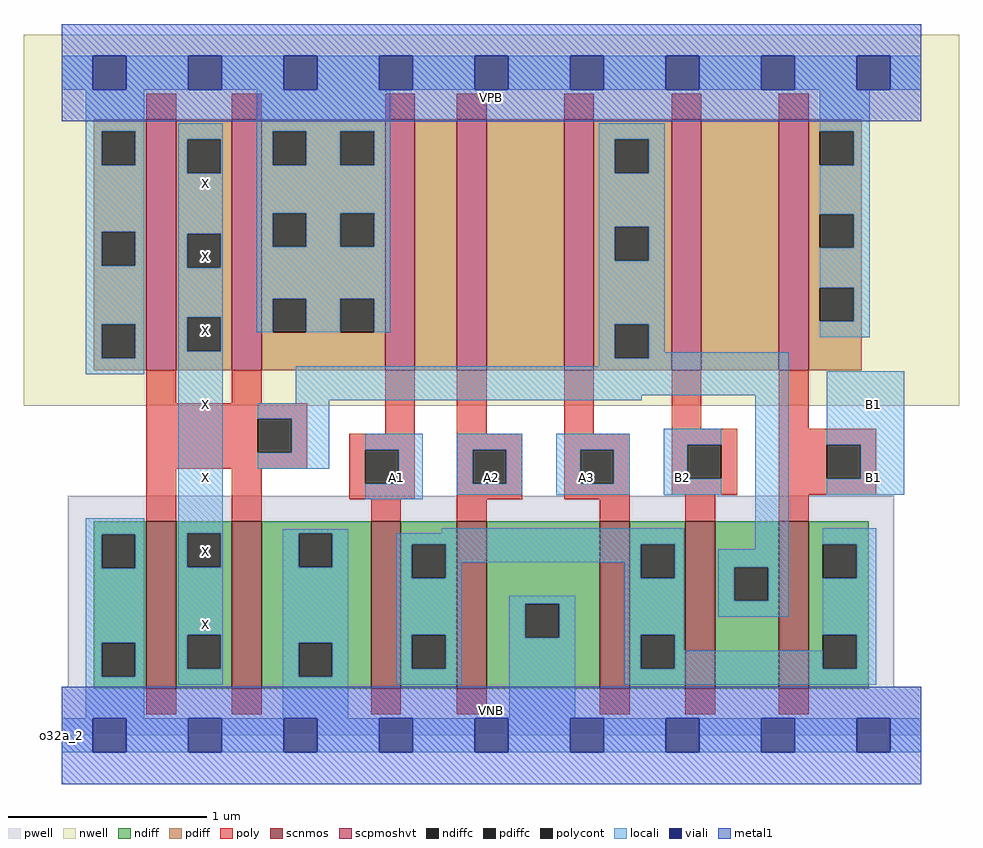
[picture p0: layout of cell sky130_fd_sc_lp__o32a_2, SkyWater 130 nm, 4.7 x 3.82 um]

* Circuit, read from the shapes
.subckt sky130_fd_sc_lp__o32a_2 A1 A2 A3 B1 B2 VGND VNB VPB VPWR X
XM1 X n1 VGND VNB sky130_fd_pr__nfet_01v8 w=0.84 l=0.15 m=2
XM2 n2 A1 VGND VNB sky130_fd_pr__nfet_01v8 w=0.84 l=0.15
XM3 VGND A2 n2 VNB sky130_fd_pr__nfet_01v8 w=0.84 l=0.15
XM4 n2 A3 VGND VNB sky130_fd_pr__nfet_01v8 w=0.84 l=0.15
XM5 n1 B2 n2 VNB sky130_fd_pr__nfet_01v8 w=0.84 l=0.15
XM6 n2 B1 n1 VNB sky130_fd_pr__nfet_01v8 w=0.84 l=0.15
XM7 X n1 VPWR VPB sky130_fd_pr__pfet_01v8_hvt w=1.26 l=0.15 m=2
XM8 n3 A1 VPWR VPB sky130_fd_pr__pfet_01v8_hvt w=1.26 l=0.15
XM9 n4 A2 n3 VPB sky130_fd_pr__pfet_01v8_hvt w=1.26 l=0.15
XM10 n1 A3 n4 VPB sky130_fd_pr__pfet_01v8_hvt w=1.26 l=0.15
XM11 n5 B2 n1 VPB sky130_fd_pr__pfet_01v8_hvt w=1.26 l=0.15
XM12 VPWR B1 n5 VPB sky130_fd_pr__pfet_01v8_hvt w=1.26 l=0.15
.ends

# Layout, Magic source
magic
tech sky130A
magscale 1 2
<< nwell >>
rect -38 331 902 704
<< pwell >>
rect 6 49 837 241
rect 0 0 864 49
<< scnmos >>
rect 85 47 115 215
rect 171 47 201 215
rect 311 47 341 215
rect 397 47 427 215
rect 541 47 571 215
rect 627 47 657 215
rect 721 47 751 215
<< scpmoshvt >>
rect 85 367 115 619
rect 171 367 201 619
rect 325 367 355 619
rect 397 367 427 619
rect 505 367 535 619
rect 613 367 643 619
rect 721 367 751 619
<< ndiff >>
rect 32 202 85 215
rect 32 168 40 202
rect 74 168 85 202
rect 32 93 85 168
rect 32 59 40 93
rect 74 59 85 93
rect 32 47 85 59
rect 115 203 171 215
rect 115 169 126 203
rect 160 169 171 203
rect 115 101 171 169
rect 115 67 126 101
rect 160 67 171 101
rect 115 47 171 67
rect 201 203 311 215
rect 201 169 238 203
rect 272 169 311 203
rect 201 93 311 169
rect 201 59 238 93
rect 272 59 311 93
rect 201 47 311 59
rect 341 192 397 215
rect 341 158 352 192
rect 386 158 397 192
rect 341 101 397 158
rect 341 67 352 101
rect 386 67 397 101
rect 341 47 397 67
rect 427 132 541 215
rect 427 98 466 132
rect 500 98 541 132
rect 427 47 541 98
rect 571 192 627 215
rect 571 158 582 192
rect 616 158 627 192
rect 571 101 627 158
rect 571 67 582 101
rect 616 67 627 101
rect 571 47 627 67
rect 657 169 721 215
rect 657 135 676 169
rect 710 135 721 169
rect 657 47 721 135
rect 751 192 811 215
rect 751 158 765 192
rect 799 158 811 192
rect 751 101 811 158
rect 751 67 765 101
rect 799 67 811 101
rect 751 47 811 67
<< pdiff >>
rect 32 607 85 619
rect 32 573 40 607
rect 74 573 85 607
rect 32 506 85 573
rect 32 472 40 506
rect 74 472 85 506
rect 32 413 85 472
rect 32 379 40 413
rect 74 379 85 413
rect 32 367 85 379
rect 115 599 171 619
rect 115 565 126 599
rect 160 565 171 599
rect 115 504 171 565
rect 115 470 126 504
rect 160 470 171 504
rect 115 420 171 470
rect 115 386 126 420
rect 160 386 171 420
rect 115 367 171 386
rect 201 607 325 619
rect 201 573 212 607
rect 246 573 280 607
rect 314 573 325 607
rect 201 525 325 573
rect 201 491 212 525
rect 246 491 280 525
rect 314 491 325 525
rect 201 439 325 491
rect 201 405 212 439
rect 246 405 280 439
rect 314 405 325 439
rect 201 367 325 405
rect 355 367 397 619
rect 427 367 505 619
rect 535 599 613 619
rect 535 565 556 599
rect 590 565 613 599
rect 535 511 613 565
rect 535 477 556 511
rect 590 477 613 511
rect 535 413 613 477
rect 535 379 556 413
rect 590 379 613 413
rect 535 367 613 379
rect 643 367 721 619
rect 751 607 804 619
rect 751 573 762 607
rect 796 573 804 607
rect 751 524 804 573
rect 751 490 762 524
rect 796 490 804 524
rect 751 450 804 490
rect 751 416 762 450
rect 796 416 804 450
rect 751 367 804 416
<< ndiffc >>
rect 40 168 74 202
rect 40 59 74 93
rect 126 169 160 203
rect 126 67 160 101
rect 238 169 272 203
rect 238 59 272 93
rect 352 158 386 192
rect 352 67 386 101
rect 466 98 500 132
rect 582 158 616 192
rect 582 67 616 101
rect 676 135 710 169
rect 765 158 799 192
rect 765 67 799 101
<< pdiffc >>
rect 40 573 74 607
rect 40 472 74 506
rect 40 379 74 413
rect 126 565 160 599
rect 126 470 160 504
rect 126 386 160 420
rect 212 573 246 607
rect 280 573 314 607
rect 212 491 246 525
rect 280 491 314 525
rect 212 405 246 439
rect 280 405 314 439
rect 556 565 590 599
rect 556 477 590 511
rect 556 379 590 413
rect 762 573 796 607
rect 762 490 796 524
rect 762 416 796 450
<< poly >>
rect 85 619 115 645
rect 171 619 201 645
rect 325 619 355 645
rect 397 619 427 645
rect 505 619 535 645
rect 613 619 643 645
rect 721 619 751 645
rect 85 334 115 367
rect 171 334 201 367
rect 85 318 247 334
rect 85 284 197 318
rect 231 284 247 318
rect 325 303 355 367
rect 85 268 247 284
rect 289 287 355 303
rect 85 215 115 268
rect 171 215 201 268
rect 289 253 305 287
rect 339 253 355 287
rect 289 237 355 253
rect 397 303 427 367
rect 505 303 535 367
rect 613 308 643 367
rect 721 308 751 367
rect 397 287 463 303
rect 397 253 413 287
rect 447 253 463 287
rect 397 237 463 253
rect 505 287 571 303
rect 505 253 521 287
rect 555 253 571 287
rect 505 237 571 253
rect 613 292 679 308
rect 613 258 629 292
rect 663 258 679 292
rect 613 242 679 258
rect 721 292 819 308
rect 721 258 769 292
rect 803 258 819 292
rect 721 242 819 258
rect 311 215 341 237
rect 397 215 427 237
rect 541 215 571 237
rect 627 215 657 242
rect 721 215 751 242
rect 85 21 115 47
rect 171 21 201 47
rect 311 21 341 47
rect 397 21 427 47
rect 541 21 571 47
rect 627 21 657 47
rect 721 21 751 47
<< polycont >>
rect 197 284 231 318
rect 305 253 339 287
rect 413 253 447 287
rect 521 253 555 287
rect 629 258 663 292
rect 769 258 803 292
<< locali >>
rect 0 649 31 683
rect 65 649 127 683
rect 161 649 223 683
rect 257 649 319 683
rect 353 649 415 683
rect 449 649 511 683
rect 545 649 607 683
rect 641 649 703 683
rect 737 649 799 683
rect 833 649 864 683
rect 24 607 83 649
rect 24 573 40 607
rect 74 573 83 607
rect 24 506 83 573
rect 24 472 40 506
rect 74 472 83 506
rect 24 413 83 472
rect 24 379 40 413
rect 74 379 83 413
rect 24 363 83 379
rect 117 599 162 615
rect 117 565 126 599
rect 160 565 162 599
rect 117 504 162 565
rect 117 470 126 504
rect 160 470 162 504
rect 117 420 162 470
rect 117 386 126 420
rect 160 386 162 420
rect 196 607 330 649
rect 196 573 212 607
rect 246 573 280 607
rect 314 573 330 607
rect 196 525 330 573
rect 196 491 212 525
rect 246 491 280 525
rect 314 491 330 525
rect 196 439 330 491
rect 196 405 212 439
rect 246 405 280 439
rect 314 405 330 439
rect 540 599 606 615
rect 540 565 556 599
rect 590 565 606 599
rect 540 511 606 565
rect 540 477 556 511
rect 590 477 606 511
rect 540 413 606 477
rect 24 202 83 218
rect 24 168 40 202
rect 74 168 83 202
rect 24 93 83 168
rect 24 59 40 93
rect 74 59 83 93
rect 24 17 83 59
rect 117 203 162 386
rect 540 379 556 413
rect 590 385 606 413
rect 762 607 812 649
rect 796 573 812 607
rect 762 524 812 573
rect 796 490 812 524
rect 762 450 812 490
rect 796 416 812 450
rect 762 400 812 416
rect 590 379 731 385
rect 540 371 731 379
rect 235 342 731 371
rect 235 337 583 342
rect 235 334 269 337
rect 197 318 269 334
rect 231 284 269 318
rect 197 268 269 284
rect 305 287 363 303
rect 339 253 363 287
rect 305 237 363 253
rect 397 287 463 303
rect 397 253 413 287
rect 447 253 463 287
rect 397 242 463 253
rect 497 287 571 303
rect 497 253 521 287
rect 555 253 571 287
rect 497 242 571 253
rect 605 292 663 308
rect 605 258 629 292
rect 605 242 663 258
rect 117 169 126 203
rect 160 169 162 203
rect 117 101 162 169
rect 117 67 126 101
rect 160 67 162 101
rect 117 51 162 67
rect 222 203 288 207
rect 382 203 626 208
rect 222 169 238 203
rect 272 169 288 203
rect 222 93 288 169
rect 222 59 238 93
rect 272 59 288 93
rect 222 17 288 59
rect 336 192 626 203
rect 336 158 352 192
rect 386 174 582 192
rect 386 158 402 174
rect 336 101 402 158
rect 566 158 582 174
rect 616 158 626 192
rect 697 187 731 342
rect 769 292 847 366
rect 803 258 847 292
rect 769 242 847 258
rect 336 67 352 101
rect 386 67 402 101
rect 336 51 402 67
rect 450 132 516 140
rect 450 98 466 132
rect 500 98 516 132
rect 450 17 516 98
rect 566 101 626 158
rect 660 169 731 187
rect 660 135 676 169
rect 710 135 731 169
rect 660 119 731 135
rect 765 192 819 208
rect 799 158 819 192
rect 566 67 582 101
rect 616 85 626 101
rect 765 101 819 158
rect 616 67 765 85
rect 799 67 819 101
rect 566 51 819 67
rect 0 -17 31 17
rect 65 -17 127 17
rect 161 -17 223 17
rect 257 -17 319 17
rect 353 -17 415 17
rect 449 -17 511 17
rect 545 -17 607 17
rect 641 -17 703 17
rect 737 -17 799 17
rect 833 -17 864 17
<< viali >>
rect 31 649 65 683
rect 127 649 161 683
rect 223 649 257 683
rect 319 649 353 683
rect 415 649 449 683
rect 511 649 545 683
rect 607 649 641 683
rect 703 649 737 683
rect 799 649 833 683
rect 31 -17 65 17
rect 127 -17 161 17
rect 223 -17 257 17
rect 319 -17 353 17
rect 415 -17 449 17
rect 511 -17 545 17
rect 607 -17 641 17
rect 703 -17 737 17
rect 799 -17 833 17
<< metal1 >>
rect 0 683 864 715
rect 0 649 31 683
rect 65 649 127 683
rect 161 649 223 683
rect 257 649 319 683
rect 353 649 415 683
rect 449 649 511 683
rect 545 649 607 683
rect 641 649 703 683
rect 737 649 799 683
rect 833 649 864 683
rect 0 617 864 649
rect 0 17 864 49
rect 0 -17 31 17
rect 65 -17 127 17
rect 161 -17 223 17
rect 257 -17 319 17
rect 353 -17 415 17
rect 449 -17 511 17
rect 545 -17 607 17
rect 641 -17 703 17
rect 737 -17 799 17
rect 833 -17 864 17
rect 0 -49 864 -17
<< labels >>
flabel pwell s 0 0 864 49 0 FreeSans 200 0 0 0 VNB
port 7 nsew ground bidirectional
flabel nwell s 0 617 864 666 0 FreeSans 200 0 0 0 VPB
port 8 nsew power bidirectional
rlabel comment s 0 0 0 0 4 o32a_2
flabel metal1 s 0 617 864 666 0 FreeSans 340 0 0 0 VPWR
port 9 nsew power bidirectional
flabel metal1 s 0 0 864 49 0 FreeSans 340 0 0 0 VGND
port 6 nsew ground bidirectional
flabel locali s 127 94 161 128 0 FreeSans 340 0 0 0 X
port 10 nsew signal output
flabel locali s 127 168 161 202 0 FreeSans 340 0 0 0 X
port 10 nsew signal output
flabel locali s 127 242 161 276 0 FreeSans 340 0 0 0 X
port 10 nsew signal output
flabel locali s 127 316 161 350 0 FreeSans 340 0 0 0 X
port 10 nsew signal output
flabel locali s 127 390 161 424 0 FreeSans 340 0 0 0 X
port 10 nsew signal output
flabel locali s 127 464 161 498 0 FreeSans 340 0 0 0 X
port 10 nsew signal output
flabel locali s 127 538 161 572 0 FreeSans 340 0 0 0 X
port 10 nsew signal output
flabel locali s 319 242 353 276 0 FreeSans 340 0 0 0 A1
port 1 nsew signal input
flabel locali s 415 242 449 276 0 FreeSans 340 0 0 0 A2
port 2 nsew signal input
flabel locali s 511 242 545 276 0 FreeSans 340 0 0 0 A3
port 3 nsew signal input
flabel locali s 799 242 833 276 0 FreeSans 340 0 0 0 B1
port 4 nsew signal input
flabel locali s 799 316 833 350 0 FreeSans 340 0 0 0 B1
port 4 nsew signal input
flabel locali s 607 242 641 276 0 FreeSans 340 0 0 0 B2
port 5 nsew signal input
<< properties >>
string LEFsite unit
string LEFclass CORE
string FIXED_BBOX 0 0 864 666
string GDS_FILE $PDKPATH/libs.ref/sky130_fd_sc_lp/gds/sky130_fd_sc_lp.gds
string LEFsymmetry X Y R90
string GDS_END 1740974
string GDS_START 1732668
<< end >>
